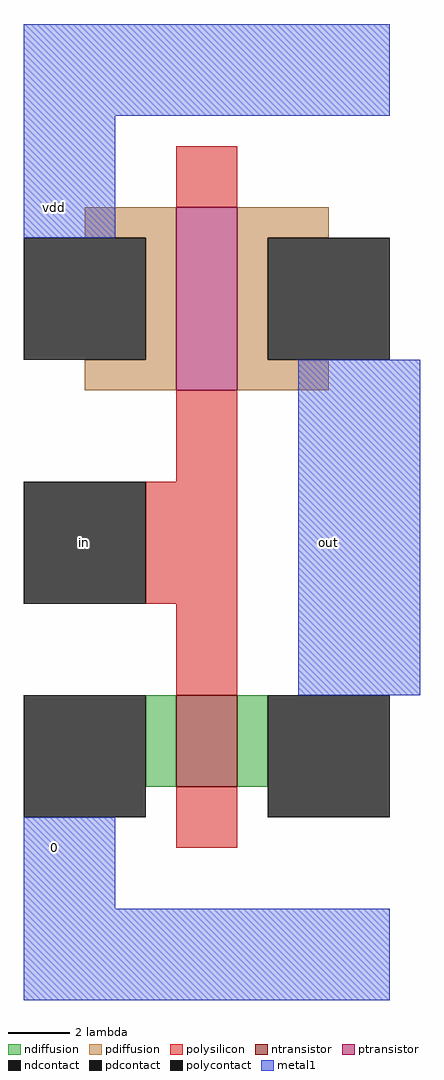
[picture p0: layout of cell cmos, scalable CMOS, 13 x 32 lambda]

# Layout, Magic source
magic
tech scmos
<< polysilicon >>
rect 0 11 2 13
rect 0 2 2 5
rect -1 -2 2 2
rect 0 -5 2 -2
rect 0 -10 2 -8
<< ndiffusion >>
rect -1 -8 0 -5
rect 2 -8 3 -5
<< pdiffusion >>
rect -3 10 0 11
rect -1 6 0 10
rect -3 5 0 6
rect 2 10 5 11
rect 2 6 3 10
rect 2 5 5 6
<< metal1 >>
rect -5 14 7 17
rect -5 10 -2 14
rect 4 -5 8 6
rect -5 -12 -2 -9
rect -5 -15 7 -12
<< ntransistor >>
rect 0 -8 2 -5
<< ptransistor >>
rect 0 5 2 11
<< polycontact >>
rect -5 -2 -1 2
<< ndcontact >>
rect -5 -9 -1 -5
rect 3 -9 7 -5
<< pdcontact >>
rect -5 6 -1 10
rect 3 6 7 10
<< labels >>
rlabel polycontact -3 0 -3 0 3 in
rlabel metal1 5 0 5 0 3 out
rlabel metal1 -4 -10 -4 -10 3 0
rlabel metal1 -4 11 -4 11 3 vdd
<< end >>
